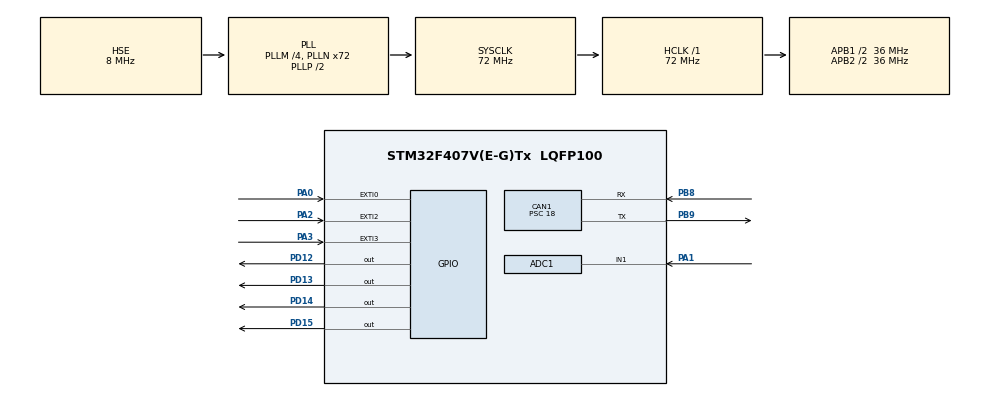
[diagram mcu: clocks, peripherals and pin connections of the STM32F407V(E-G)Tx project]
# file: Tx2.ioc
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ADC1.Channel-0\#ChannelRegularConversion=ADC_CHANNEL_1
ADC1.NbrOfConversionFlag=1
ADC1.Rank-0\#ChannelRegularConversion=1
ADC1.SamplingTime-0\#ChannelRegularConversion=ADC_SAMPLETIME_3CYCLES
ADC1.master=1
CAN1.BS1=CAN_BS1_2TQ
CAN1.CalculateBaudRate=500000
CAN1.CalculateTimeBit=2000
CAN1.CalculateTimeQuantum=500.0
CAN1.Prescaler=18
Mcu.Family=STM32F4
Mcu.Name=STM32F407V(E-G)Tx
Mcu.Package=LQFP100
NVIC.ADC_IRQn=true\:0\:0\:false\:false\:true\:true\:true\:true
NVIC.CAN1_RX0_IRQn=true\:0\:0\:false\:false\:true\:true\:true\:true
NVIC.EXTI0_IRQn=true\:0\:0\:false\:false\:true\:true\:true\:true
NVIC.EXTI2_IRQn=true\:0\:0\:false\:false\:true\:true\:true\:true
NVIC.EXTI3_IRQn=true\:0\:0\:false\:false\:true\:true\:true\:true
NVIC.PriorityGroup=NVIC_PRIORITYGROUP_0
PA0-WKUP.Signal=GPXTI0
PA1.Signal=ADCx_IN1
PA2.Signal=GPXTI2
PA3.Signal=GPXTI3
PB8.Mode=CAN_Activate
PB8.Signal=CAN1_RX
PB9.Mode=CAN_Activate
PB9.Signal=CAN1_TX
PD12.Signal=GPIO_Output
PD13.Signal=GPIO_Output
PD14.Signal=GPIO_Output
PD15.Signal=GPIO_Output
PH0-OSC_IN.Mode=HSE-External-Oscillator
PH0-OSC_IN.Signal=RCC_OSC_IN
PH1-OSC_OUT.Mode=HSE-External-Oscillator
PH1-OSC_OUT.Signal=RCC_OSC_OUT
ProjectManager.HeapSize=0x200
ProjectManager.StackSize=0x400
ProjectManager.TargetToolchain=STM32CubeIDE
RCC.48MHZClocksFreq_Value=20571428.57142857
RCC.AHBFreq_Value=72000000
RCC.APB1CLKDivider=RCC_HCLK_DIV2
RCC.APB1Freq_Value=36000000
RCC.APB1TimFreq_Value=72000000
RCC.APB2CLKDivider=RCC_HCLK_DIV2
RCC.APB2Freq_Value=36000000
RCC.APB2TimFreq_Value=72000000
RCC.CortexFreq_Value=72000000
RCC.HCLKFreq_Value=72000000
RCC.HSE_VALUE=8000000
RCC.HSI_VALUE=16000000
RCC.LSE_VALUE=32768
RCC.PLLM=4
RCC.PLLN=72
RCC.PLLQ=7
RCC.PLLSourceVirtual=RCC_PLLSOURCE_HSE
RCC.SYSCLKFreq_VALUE=72000000
RCC.SYSCLKSource=RCC_SYSCLKSOURCE_PLLCLK
RCC.VCOOutputFreq_Value=144000000
SH.ADCx_IN1.0=ADC1_IN1,IN1
board=STM32F407G-DISC1

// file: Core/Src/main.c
/* USER CODE BEGIN Header */
/**
  ******************************************************************************
  * @file           : main.c
  * @brief          : Main program body
  ******************************************************************************
  * @attention
  *
  * Copyright (c) 2023 STMicroelectronics.
  * All rights reserved.
  *
  * This software is licensed under terms that can be found in the LICENSE file
  * in the root directory of this software component.
  * If no LICENSE file comes with this software, it is provided AS-IS.
  *
  ******************************************************************************
  */
/* USER CODE END Header */
#include "main.h"

/* USER CODE BEGIN Includes */

#include <stdio.h>
#include <string.h>
/* USER CODE END Includes */

/* USER CODE BEGIN PD */
#define SEAT_BELT_PIN GPIO_PIN_2
#define DOOR_PIN GPIO_PIN_3
#define WARNING_LED_PIN GPIO_PIN_14

/* USER CODE END PD */

ADC_HandleTypeDef hadc1;

CAN_HandleTypeDef hcan1;

/* USER CODE BEGIN PV */
volatile uint32_t flag=0;
volatile uint32_t flag1=0;

/* USER CODE END PV */

void SystemClock_Config(void);
static void MX_GPIO_Init(void);
static void MX_CAN1_Init(void);
static void MX_ADC1_Init(void);

/* USER CODE BEGIN 0 */
volatile int Switch_Flag = 0,SeatBelt_Flag = 0,Door_Flag = 0;

CAN_TxHeaderTypeDef TxHeader;
uint8_t TxData[8];
uint32_t TxMailBox;
uint8_t temp = 0;
uint8_t ldr = 0;

int adc_value;
// store the converted voltage value
// from analog value
float voltage;
// temp_str store the integer to string
// temperature convertion
char temp_str[20];

void HAL_GPIO_EXTI_Callback(uint16_t GPIO_Pin)
{
	if(GPIO_Pin==GPIO_PIN_0)
	{
		Switch_Flag = 1;
		//SeatBelt_Flag = 0;
	}
	else if (GPIO_Pin==GPIO_PIN_2)
		SeatBelt_Flag = 0;
	else if (GPIO_Pin==GPIO_PIN_3)
		Door_Flag = 0;

}

//void HAL_GPIO_EXTI_Callback(uint16_t GPIO_Pin){
//	Switch_Flag = 1;
//	HAL_GPIO_WritePin(GPIOD, GPIO_PIN_15, GPIO_PIN_SET);

//	if (GPIO_Pin == GPIO_PIN_0){
//		HAL_GPIO_WritePin(GPIOD, GPIO_PIN_12, GPIO_PIN_SET); // GREEN LED - Temperature Reading Enabled.
//		Switch_Flag = 0;
//	}
//	else if (GPIO_Pin == GPIO_PIN_1){
//		HAL_GPIO_WritePin(GPIOD, GPIO_PIN_13, GPIO_PIN_SET); // ORANGE LED - Gas Leak.
//		SeatBelt_Flag = 1;
//	}
//	else if (GPIO_Pin == GPIO_PIN_2)
//	{
//		HAL_GPIO_WritePin(GPIOD, GPIO_PIN_14, GPIO_PIN_SET); // ORANGE LED - Gas Leak.
//		Door_Flag = 1;
//	}
//	HAL_Delay(1000);
//	HAL_GPIO_WritePin(GPIOD, GPIO_PIN_15, GPIO_PIN_RESET);
//	Switch_Flag = 0;
//}

uint8_t gettemp()
{
	HAL_GPIO_WritePin(GPIOD, GPIO_PIN_14, GPIO_PIN_SET);
	HAL_Delay(1000);
	HAL_GPIO_WritePin(GPIOD, GPIO_PIN_14, GPIO_PIN_RESET);
	//temp = temp + 1;
	 HAL_ADC_Start(&hadc1);
	// ADC poll for conversion
	HAL_ADC_PollForConversion(&hadc1, 100);
	// get the ADC conversion value
	adc_value = HAL_ADC_GetValue(&hadc1);
	// end ADC convertion
	HAL_ADC_Stop(&hadc1);
	// convert ADC value into voltage
	voltage = (adc_value*3.3)/4096;
	// convert the voltage into temperature
	temp = voltage*100;
	//TxData[1] = 24;	//yellow
	//uint8_t temp = 24; // Convert temperature to an integer value
	return temp;
}

uint8_t getldr()
{
	HAL_GPIO_WritePin(GPIOD, GPIO_PIN_12, GPIO_PIN_SET);
	HAL_Delay(1000);
	HAL_GPIO_WritePin(GPIOD, GPIO_PIN_12, GPIO_PIN_RESET);
	ldr = ldr + 1;
	return ldr;
}

/* USER CODE END 0 */

int main(void)
{

  /* MCU Configuration--------------------------------------------------------*/

  /* Reset of all peripherals, Initializes the Flash interface and the Systick. */
  HAL_Init();

  /* Configure the system clock */
  SystemClock_Config();

  /* Initialize all configured peripherals */
  MX_GPIO_Init();
  MX_CAN1_Init();
  MX_ADC1_Init();
  /* USER CODE BEGIN 2 */
  HAL_CAN_Start(&hcan1);
  HAL_CAN_ActivateNotification(&hcan1, CAN_IT_RX_FIFO0_MSG_PENDING);
  HAL_Delay(100);
  HAL_Delay(100);

  TxHeader.DLC=5;
  TxHeader.RTR=CAN_RTR_DATA;
  TxHeader.IDE=CAN_ID_STD;
  TxHeader.ExtId=0x0;
  TxHeader.StdId=0x0AA;
  TxHeader.TransmitGlobalTime=DISABLE;
  /* USER CODE END 2 */

  /* Infinite loop */
  /* USER CODE BEGIN WHILE */
  while (1)
  {
	  	  	  if(Switch_Flag == 1){
	  	  		TxData[0] = 'S';	//yellow
//	  	  		if (HAL_CAN_AddTxMessage(&hcan1, &TxHeader, TxData, &TxMailBox) != HAL_OK)
//	  	  			Error_Handler();
	  	  			HAL_GPIO_WritePin(GPIOD, GPIO_PIN_14, GPIO_PIN_SET);
//					HAL_Delay(2000);
//					HAL_GPIO_WritePin(GPIOD, GPIO_PIN_13, GPIO_PIN_RESET);
	  	  			Switch_Flag = 0;
	  	  		}

	  	  	  TxData[1] = gettemp();
	  	  	  HAL_Delay(1000);
	  	  	  TxData[2] = getldr();
	  	  	  HAL_Delay(1000);
	  	  	//Check the state of the seat belt pin
				if (HAL_GPIO_ReadPin(GPIOA, SEAT_BELT_PIN) == 1) // Seat belt not fastened
				{
					HAL_GPIO_WritePin(GPIOD, GPIO_PIN_13,GPIO_PIN_SET);
					TxData[3]=1;
				}
				else
				{
					TxData[3]=0;
					HAL_GPIO_WritePin(GPIOD, GPIO_PIN_13,GPIO_PIN_RESET); // Turn off warning LED
				}
				HAL_Delay(1000);
			// Check the state of the door pin
				if (HAL_GPIO_ReadPin(GPIOA, DOOR_PIN) == 0) // Door is open
				{
					TxData[4]=1;
					HAL_GPIO_WritePin(GPIOD, GPIO_PIN_15, GPIO_PIN_SET); // Turn on warning LED
				}
				else
				{
					TxData[4]=0;
					HAL_GPIO_WritePin(GPIOD, GPIO_PIN_15, GPIO_PIN_RESET); // Turn off warning LED
				}

	  if (HAL_CAN_AddTxMessage(&hcan1, &TxHeader, TxData, &TxMailBox) != HAL_OK)
			Error_Handler();

//	  HAL_GPIO_WritePin(GPIOD, GPIO_PIN_13, GPIO_PIN_SET);
//	  HAL_Delay(1000);
//	  HAL_GPIO_WritePin(GPIOD, GPIO_PIN_13, GPIO_PIN_RESET);

	  HAL_Delay(1000);
  }
    /* USER CODE END WHILE */

}

void SystemClock_Config(void)
{
  RCC_OscInitTypeDef RCC_OscInitStruct = {0};
  RCC_ClkInitTypeDef RCC_ClkInitStruct = {0};

  /** Configure the main internal regulator output voltage
  */
  __HAL_RCC_PWR_CLK_ENABLE();
  __HAL_PWR_VOLTAGESCALING_CONFIG(PWR_REGULATOR_VOLTAGE_SCALE1);

  /** Initializes the RCC Oscillators according to the specified parameters
  * in the RCC_OscInitTypeDef structure.
  */
  RCC_OscInitStruct.OscillatorType = RCC_OSCILLATORTYPE_HSE;
  RCC_OscInitStruct.HSEState = RCC_HSE_ON;
  RCC_OscInitStruct.PLL.PLLState = RCC_PLL_ON;
  RCC_OscInitStruct.PLL.PLLSource = RCC_PLLSOURCE_HSE;
  RCC_OscInitStruct.PLL.PLLM = 4;
  RCC_OscInitStruct.PLL.PLLN = 72;
  RCC_OscInitStruct.PLL.PLLP = RCC_PLLP_DIV2;
  RCC_OscInitStruct.PLL.PLLQ = 7;
  if (HAL_RCC_OscConfig(&RCC_OscInitStruct) != HAL_OK)
  {
    Error_Handler();
  }

  /** Initializes the CPU, AHB and APB buses clocks
  */
  RCC_ClkInitStruct.ClockType = RCC_CLOCKTYPE_HCLK|RCC_CLOCKTYPE_SYSCLK
                              |RCC_CLOCKTYPE_PCLK1|RCC_CLOCKTYPE_PCLK2;
  RCC_ClkInitStruct.SYSCLKSource = RCC_SYSCLKSOURCE_PLLCLK;
  RCC_ClkInitStruct.AHBCLKDivider = RCC_SYSCLK_DIV1;
  RCC_ClkInitStruct.APB1CLKDivider = RCC_HCLK_DIV2;
  RCC_ClkInitStruct.APB2CLKDivider = RCC_HCLK_DIV2;

  if (HAL_RCC_ClockConfig(&RCC_ClkInitStruct, FLASH_LATENCY_2) != HAL_OK)
  {
    Error_Handler();
  }
}

static void MX_ADC1_Init(void)
{

  ADC_ChannelConfTypeDef sConfig = {0};

  /** Configure the global features of the ADC (Clock, Resolution, Data Alignment and number of conversion)
  */
  hadc1.Instance = ADC1;
  hadc1.Init.ClockPrescaler = ADC_CLOCK_SYNC_PCLK_DIV2;
  hadc1.Init.Resolution = ADC_RESOLUTION_12B;
  hadc1.Init.ScanConvMode = DISABLE;
  hadc1.Init.ContinuousConvMode = DISABLE;
  hadc1.Init.DiscontinuousConvMode = DISABLE;
  hadc1.Init.ExternalTrigConvEdge = ADC_EXTERNALTRIGCONVEDGE_NONE;
  hadc1.Init.ExternalTrigConv = ADC_SOFTWARE_START;
  hadc1.Init.DataAlign = ADC_DATAALIGN_RIGHT;
  hadc1.Init.NbrOfConversion = 1;
  hadc1.Init.DMAContinuousRequests = DISABLE;
  hadc1.Init.EOCSelection = ADC_EOC_SINGLE_CONV;
  if (HAL_ADC_Init(&hadc1) != HAL_OK)
  {
    Error_Handler();
  }

  /** Configure for the selected ADC regular channel its corresponding rank in the sequencer and its sample time.
  */
  sConfig.Channel = ADC_CHANNEL_1;
  sConfig.Rank = 1;
  sConfig.SamplingTime = ADC_SAMPLETIME_3CYCLES;
  if (HAL_ADC_ConfigChannel(&hadc1, &sConfig) != HAL_OK)
  {
    Error_Handler();
  }

}

static void MX_CAN1_Init(void)
{

  hcan1.Instance = CAN1;
  hcan1.Init.Prescaler = 18;
  hcan1.Init.Mode = CAN_MODE_NORMAL;
  hcan1.Init.SyncJumpWidth = CAN_SJW_1TQ;
  hcan1.Init.TimeSeg1 = CAN_BS1_2TQ;
  hcan1.Init.TimeSeg2 = CAN_BS2_1TQ;
  hcan1.Init.TimeTriggeredMode = DISABLE;
  hcan1.Init.AutoBusOff = DISABLE;
  hcan1.Init.AutoWakeUp = DISABLE;
  hcan1.Init.AutoRetransmission = DISABLE;
  hcan1.Init.ReceiveFifoLocked = DISABLE;
  hcan1.Init.TransmitFifoPriority = DISABLE;
  if (HAL_CAN_Init(&hcan1) != HAL_OK)
  {
    Error_Handler();
  }
  /* USER CODE BEGIN CAN1_Init 2 */
  CAN_FilterTypeDef canFilterConfig;
   canFilterConfig.FilterActivation=CAN_FILTER_ENABLE;
   canFilterConfig.SlaveStartFilterBank=14;
   canFilterConfig.FilterBank=2;
   canFilterConfig.FilterFIFOAssignment=CAN_RX_FIFO0;
   canFilterConfig.FilterScale=CAN_FILTERSCALE_32BIT;
   canFilterConfig.FilterMode=CAN_FILTERMODE_IDMASK;
   canFilterConfig.FilterMaskIdLow=0x0000;
   canFilterConfig.FilterMaskIdHigh=0xFF00;
   canFilterConfig.FilterIdLow=0x0000;
   canFilterConfig.FilterIdHigh=0x1500;
   HAL_CAN_ConfigFilter(&hcan1, &canFilterConfig);
  /* USER CODE END CAN1_Init 2 */

}

static void MX_GPIO_Init(void)
{
  GPIO_InitTypeDef GPIO_InitStruct = {0};

  /* GPIO Ports Clock Enable */
  __HAL_RCC_GPIOH_CLK_ENABLE();
  __HAL_RCC_GPIOA_CLK_ENABLE();
  __HAL_RCC_GPIOD_CLK_ENABLE();
  __HAL_RCC_GPIOB_CLK_ENABLE();

  /*Configure GPIO pin Output Level */
  HAL_GPIO_WritePin(GPIOD, GPIO_PIN_12|GPIO_PIN_13|GPIO_PIN_14|GPIO_PIN_15, GPIO_PIN_RESET);

  /*Configure GPIO pins : PA0 PA2 PA3 */
  GPIO_InitStruct.Pin = GPIO_PIN_0|GPIO_PIN_2|GPIO_PIN_3;
  GPIO_InitStruct.Mode = GPIO_MODE_IT_RISING;
  GPIO_InitStruct.Pull = GPIO_NOPULL;
  HAL_GPIO_Init(GPIOA, &GPIO_InitStruct);

  /*Configure GPIO pins : PD12 PD13 PD14 PD15 */
  GPIO_InitStruct.Pin = GPIO_PIN_12|GPIO_PIN_13|GPIO_PIN_14|GPIO_PIN_15;
  GPIO_InitStruct.Mode = GPIO_MODE_OUTPUT_PP;
  GPIO_InitStruct.Pull = GPIO_NOPULL;
  GPIO_InitStruct.Speed = GPIO_SPEED_FREQ_LOW;
  HAL_GPIO_Init(GPIOD, &GPIO_InitStruct);

  /* EXTI interrupt init*/
  HAL_NVIC_SetPriority(EXTI0_IRQn, 0, 0);
  HAL_NVIC_EnableIRQ(EXTI0_IRQn);

  HAL_NVIC_SetPriority(EXTI2_IRQn, 0, 0);
  HAL_NVIC_EnableIRQ(EXTI2_IRQn);

  HAL_NVIC_SetPriority(EXTI3_IRQn, 0, 0);
  HAL_NVIC_EnableIRQ(EXTI3_IRQn);

}

/* USER CODE BEGIN 4 */

void HAL_CAN_TxMailbox0CompleteCallback(CAN_HandleTypeDef *hcan)
{
	HAL_GPIO_WritePin(GPIOD, GPIO_PIN_15, GPIO_PIN_SET);
}

/* USER CODE END 4 */

void Error_Handler(void)
{
  __disable_irq();
  while (1)
  {
  }
}
